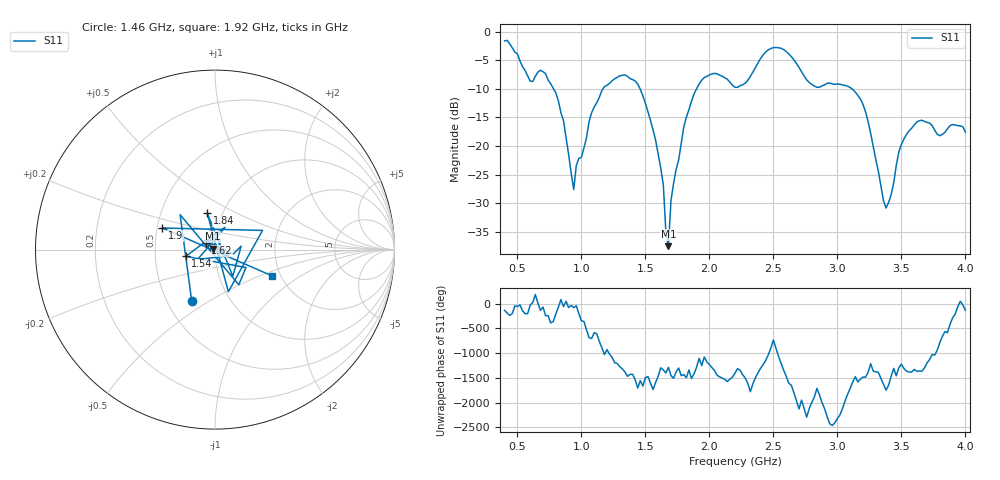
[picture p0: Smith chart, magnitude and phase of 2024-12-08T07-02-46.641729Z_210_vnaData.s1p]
!Created with skrf (http://scikit-rf.org).
# Hz S RI R 50.0
!freq ReS11 ImS11
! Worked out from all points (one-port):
!   181 points, 400 MHz to 4 GHz, reference 50 ohm
!   lowest |S11| = -37.5 dB at 1.68 GHz (marker M1), VSWR 1.03, Z = 48.8 + j0.577 ohm
!   |S11| at or under -10 dB: 781.7 MHz to 1.168 GHz (386.7 MHz wide, 39.7 % of centre); 1.458 GHz to 1.9 GHz (441.4 MHz wide, 26.3 % of centre); 3.114 GHz to end of sweep
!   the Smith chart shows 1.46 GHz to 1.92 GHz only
!   S11 on the Smith chart (normalised r, x): 1.46 GHz: 0.66, -0.42; 1.54 GHz: 0.72, -0.06; 1.62 GHz: 0.90, +0.07; 1.84 GHz: 0.85, +0.36; 1.9 GHz: 0.53, +0.14; 1.92 GHz: 1.80, -0.60
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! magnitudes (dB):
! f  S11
! 400 MHz  -1.6
! 600 MHz  -8.7
! 720 MHz  -7.3
! 860 MHz  -15.6
! 940 MHz  -27.6
! 960 MHz  -23.4
! 1.08 GHz  -14.2
! 1.3 GHz  -7.7
! 1.46 GHz  -10.1
! 1.54 GHz  -15.5
! 1.62 GHz  -23.9
! 1.68 GHz  -37.5
! 1.7 GHz  -29.5
! 1.76 GHz  -22.4
! 1.84 GHz  -13.7
! 1.9 GHz  -10.0
! 1.92 GHz  -9.2
! 2.04 GHz  -7.3
! 2.2 GHz  -9.7
! 2.48 GHz  -2.9
! 2.66 GHz  -4.9
! 2.84 GHz  -9.7
! 3.1 GHz  -9.8
! 3.22 GHz  -14.0
! 3.38 GHz  -30.8
! 3.48 GHz  -21.0
! 3.56 GHz  -17.3
! 4 GHz  -17.6
